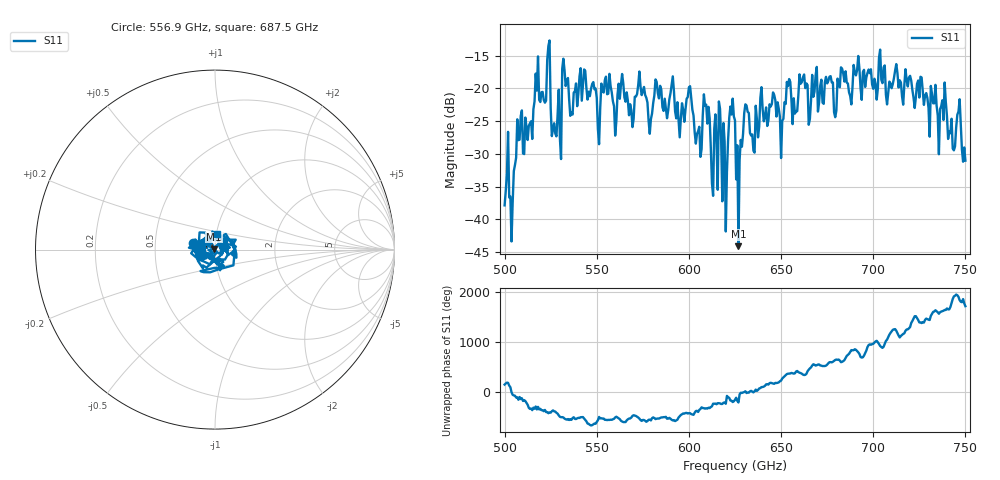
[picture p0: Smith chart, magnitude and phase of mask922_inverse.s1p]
!Created with skrf (http://scikit-rf.org).
# GHz S MA R 50.0
!freq magS11 angS11
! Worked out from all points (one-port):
!   401 points, 500 GHz to 750 GHz, reference 50 ohm
!   lowest |S11| = -44.1 dB at 626.9 GHz (marker M1), VSWR 1.01, Z = 49.5 + j0.295 ohm
!   |S11| at or under -10 dB: start of sweep to end of sweep
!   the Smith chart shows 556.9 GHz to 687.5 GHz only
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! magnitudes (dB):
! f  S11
! 500 GHz  -37.9
! 503.8 GHz  -43.4
! 508.1 GHz  -27.8
! 513.8 GHz  -25.3
! 516.9 GHz  -17.7
! 523.8 GHz  -13.5
! 526.9 GHz  -25.3
! 531.2 GHz  -17.0
! 562.5 GHz  -21.6
! 590.6 GHz  -19.5
! 593.8 GHz  -22.1
! 600 GHz  -19.8
! 605.6 GHz  -25.9
! 609.4 GHz  -22.5
! 612.5 GHz  -34.5
! 617.5 GHz  -28.1
! 619.4 GHz  -28.2
! 623.1 GHz  -24.0
! 625 GHz  -24.9
! 626.9 GHz  -44.1
! 631.2 GHz  -22.6
! 634.4 GHz  -27.0
! 656.2 GHz  -25.5
! 687.5 GHz  -21.2
! 718.8 GHz  -19.7
! 743.1 GHz  -29.2
! 746.2 GHz  -23.5
! 750 GHz  -31.0
